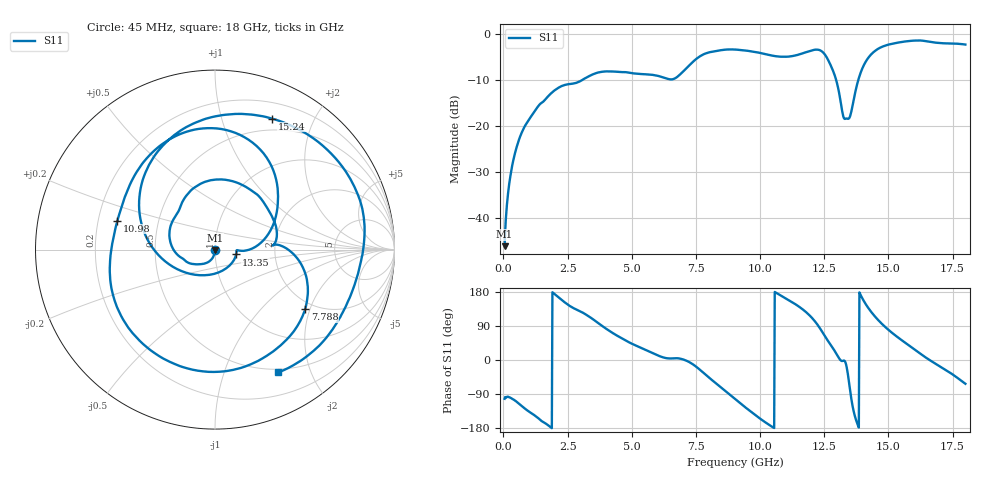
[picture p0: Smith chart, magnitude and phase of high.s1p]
!Agilent Technologies,E8364A,US41440284,A.06.04.32
!Agilent E8364A: A.06.04.32
!Date: Monday, November 18, 2019 12:37:32
!Correction: S11(Full 1 Port(1))
!S1P File: Measurement: S11:
# Hz S  MA  R 50
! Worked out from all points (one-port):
!   801 points, 45 MHz to 18 GHz, reference 50 ohm
!   lowest |S11| = -46.1 dB at 45 MHz (marker M1), VSWR 1.01, Z = 49.9 - j0.483 ohm
!   |S11| at or under -10 dB: start of sweep to 3.061 GHz; 12.96 GHz to 13.83 GHz (860.3 MHz wide, 6.42 % of centre)
!   S11 on the Smith chart (normalised r, x): 45 MHz: 1.00, -0.01; 7.788 GHz: 1.79, -1.85; 10.98 GHz: 0.28, +0.13; 13.35 GHz: 1.26, -0.07; 15.24 GHz: 0.37, +1.46; 18 GHz: 0.46, -1.54
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4.5e7  0.00496 -102.4
2.918812e8  0.03116 -100.6
6.73425e8  0.08018 -119.0
1.369181e9  0.1667 -154.2
2.289375e9  0.274 157.4
3.703331e9  0.3834 96.9
4.53375e9  0.3877 60.3
6.778125e9  0.3439 4.7
7.271888e9  0.4662 -6.8
7.788094e9  0.6015 -33.4
8.461406e9  0.6678 -71.4
9.0225e9  0.6795 -103.1
9.92025e9  0.6311 -150.7
1.097511e10  0.5669 163.5
1.126688e10  0.5775 151.9
1.185041e10  0.6444 122.7
1.227684e10  0.6753 89.3
1.272572e10  0.4743 42.4
1.303993e10  0.2602 8.8
1.335414e10  0.1208 -12.8
1.351125e10  0.1291 -81.9
1.389279e10  0.3636 175.0
1.418456e10  0.5372 140.4
1.467832e10  0.7116 100.0
1.523942e10  0.7961 66.5
1.575562e10  0.8384 40.6
1.669826e10  0.817 -4.0
1.8e10  0.7699 -62.8
